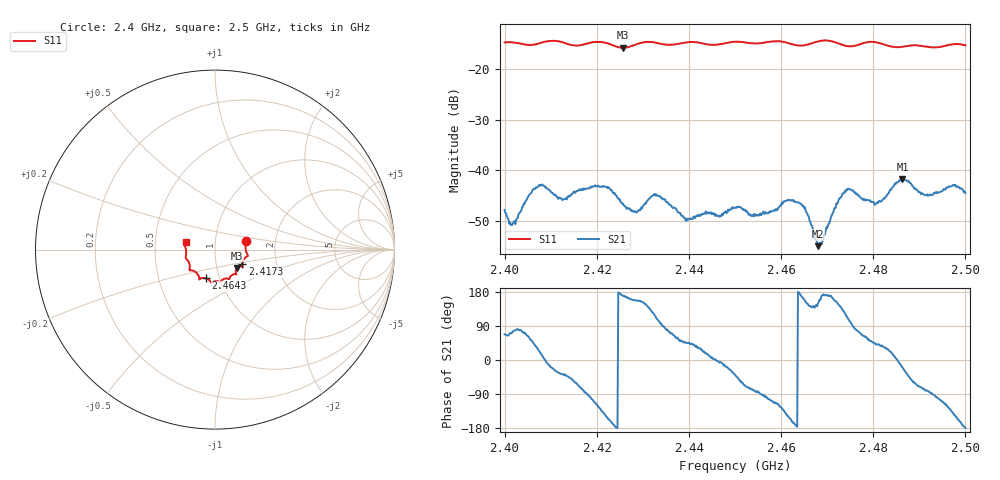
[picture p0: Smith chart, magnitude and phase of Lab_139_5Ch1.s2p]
# Hz S RI R 50
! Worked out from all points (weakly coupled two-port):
!   601 points, 2.4 GHz to 2.5 GHz, reference 50 ohm
!   highest |S21| = -41.74 dB at 2.4863 GHz (marker M1); lowest = -54.8 dB at 2.468 GHz (marker M2)
!   lowest |S11| = -15.9 dB at 2.4257 GHz (marker M3), VSWR 1.38, Z = 62.4 - j13.1 ohm
!   |S11| at or under -10 dB: start of sweep to end of sweep
!   S12 and S22 are empty: the file has one direction only
!   S11 on the Smith chart (normalised r, x): 2.4 GHz: 1.41, +0.14; 2.4173 GHz: 1.34, -0.23; 2.4643 GHz: 0.86, -0.28; 2.5 GHz: 0.72, +0.06
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2.4e9  0.1736 0.0492  0.00156 0.00379  0 0  0 0
2.401833e9  0.1755 0.0421  0.000768 0.00295  0 0  0 0
2.407667e9  0.1764 -0.0178  0.00668 0.00246  0 0  0 0
2.412667e9  0.1759 -0.0391  0.00406 -0.0032  0 0  0 0
2.416667e9  0.1526 -0.0749  0.00174 -0.00622  0 0  0 0
2.417333e9  0.152 -0.0822  0.000546 -0.00658  0 0  0 0
2.422167e9  0.1505 -0.0942  -0.006 -0.00339  0 0  0 0
2.425667e9  0.1224 -0.1024  -0.00466 0.00086  0 0  0 0
2.4285e9  0.1153 -0.1282  -0.00357 0.00149  0 0  0 0
2.433333e9  0.1125 -0.1366  -0.00143 0.00544  0 0  0 0
2.439667e9  0.0801 -0.1621  0.00232 0.00227  0 0  0 0
2.45e9  0.0295 -0.1808  0.00333 -0.00271  0 0  0 0
2.454833e9  0.00304 -0.1761  0.000489 -0.00366  0 0  0 0
2.464333e9  -0.0501 -0.1602  -0.00462 0.000801  0 0  0 0
2.466667e9  -0.0761 -0.1595  -0.00216 0.00189  0 0  0 0
2.468e9  -0.0846 -0.1641  -0.00156 0.000917  0 0  0 0
2.474333e9  -0.1002 -0.1322  -0.00249 0.00593  0 0  0 0
2.4805e9  -0.1425 -0.112  0.00349 0.00313  0 0  0 0
2.483333e9  -0.1405 -0.0898  0.00532 0.00263  0 0  0 0
2.486333e9  -0.1518 -0.0606  0.00772 -0.00271  0 0  0 0
2.4915e9  -0.1611 -0.0304  0.000972 -0.00567  0 0  0 0
2.5e9  -0.1638 0.0418  -0.006 -8.29e-05  0 0  0 0
